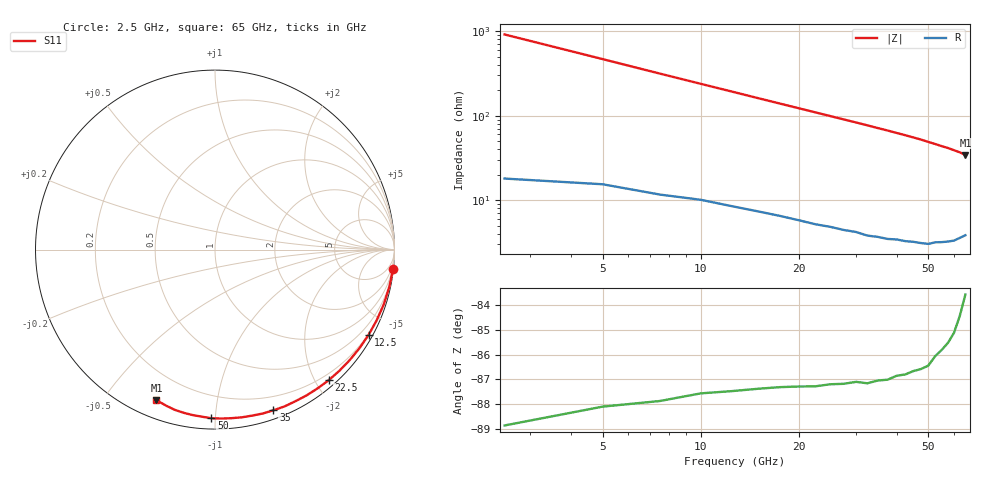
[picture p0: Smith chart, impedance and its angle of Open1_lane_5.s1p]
! File created by SignalIntegrity v1.5.1: Signal and Power Integrity Tools
! https://github.com/Nubis-Communications/SignalIntegrity
# MHz S MA R 50.0
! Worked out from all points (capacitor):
!   26 points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, 2.5 GHz to 65 GHz, reference 50 ohm
!   read as one part to ground: C = 68.1 fF near 2.5 GHz
!   lowest |Z| = 34.3 ohm at 65 GHz (marker M1)
!   S11 on the Smith chart (normalised r, x): 2.5 GHz: 0, -18; 12.5 GHz: 0.17, -3.85; 22.5 GHz: 0.10, -2.19; 35 GHz: 0.07, -1.43; 50 GHz: 0.06, -0.98; 65 GHz: 0.08, -0.68
2500  0.9979 -6.3
5000  0.993 -12.2
7500  0.9886 -18.0
10000  0.9831 -23.7
12500  0.9788 -29.1
15000  0.9745 -34.4
17500  0.9707 -39.5
20000  0.9675 -44.3
22500  0.9648 -49.0
25000  0.9615 -53.6
27500  0.9592 -57.9
30000  0.9563 -62.0
32500  0.9557 -66.0
35000  0.9528 -70.0
37500  0.9513 -73.6
40000  0.9478 -77.3
42500  0.9464 -80.8
45000  0.9437 -84.3
47500  0.9422 -87.6
50000  0.9399 -91.2
52500  0.9338 -94.5
55000  0.93 -97.9
57500  0.9259 -100.7
60000  0.9205 -104.1
62500  0.9111 -107.4
65000  0.9004 -111.2
